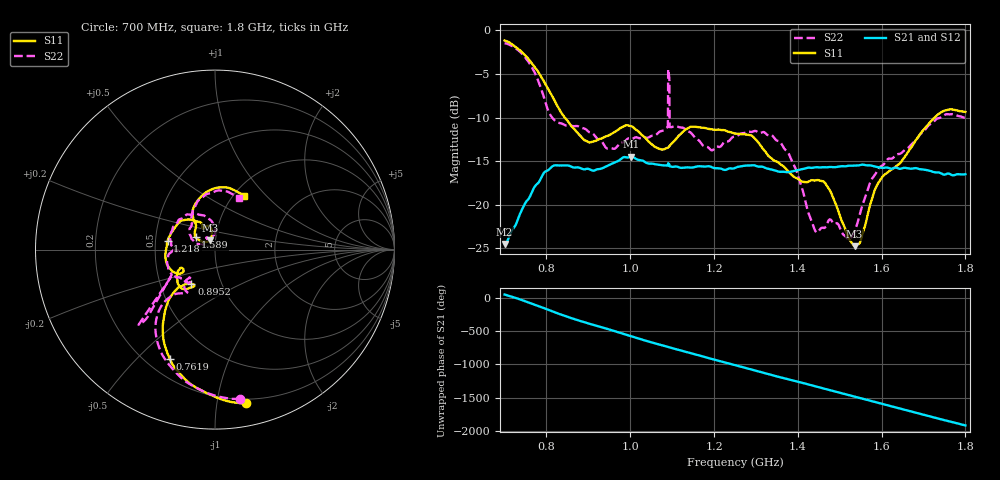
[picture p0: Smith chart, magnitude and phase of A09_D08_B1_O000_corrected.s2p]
! Created with skrf 1.9.0 (http://scikit-rf.org).
# Hz S RI R 50.0
!freq ReS11 ImS11 ReS21 ImS21 ReS12 ImS12 ReS22 ImS22
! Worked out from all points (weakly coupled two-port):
!   1601 points, 700 MHz to 1.8 GHz, reference 50 ohm
!   highest |S21| = -14.49 dB at 1.002 GHz (marker M1); lowest = -24.5 dB at 700 MHz (marker M2)
!   lowest |S11| = -24.7 dB at 1.535 GHz (marker M3), VSWR 1.12, Z = 47.1 + j4.84 ohm
!   |S11| at or under -10 dB: 843.8 MHz to 1.727 GHz (882.7 MHz wide, 68.7 % of centre)
!   |S22| runs from -24.0 to -1.5 dB; largest |S21 - S12| = 0.0037
!   S11 on the Smith chart (normalised r, x): 700 MHz: 0.17, -1.21; 761.9 MHz: 0.29, -0.63; 895.2 MHz: 0.72, -0.29; 1.218 GHz: 0.58, +0.06; 1.589 GHz: 0.80, +0.11; 1.8 GHz: 1.11, +0.76
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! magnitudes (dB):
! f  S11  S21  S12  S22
! 700 MHz  -1.2  -24.5  -24.2  -1.5
! 761.9 MHz  -3.6  -18.9  -18.8  -4.0
! 814.8 MHz  -7.7  -15.6  -15.6  -10.1
! 883.6 MHz  -12.2  -15.9  -15.8  -11.2
! 895.2 MHz  -12.7  -15.9  -16.0  -11.4
! 946.8 MHz  -12.1  -15.5  -15.5  -13.6
! 1.002 GHz  -11.0  -14.5  -14.6  -12.5
! 1.067 GHz  -13.5  -15.4  -15.4  -11.7
! 1.096 GHz  -13.1  -15.6  -15.6  -11.1
! 1.099 GHz  -12.9  -15.6  -15.6  -11.1
! 1.144 GHz  -11.1  -15.7  -15.7  -11.7
! 1.218 GHz  -11.4  -15.9  -15.9  -13.2
! 1.25 GHz  -11.8  -15.8  -15.7  -12.2
! 1.359 GHz  -15.4  -16.2  -16.2  -12.8
! 1.395 GHz  -16.9  -16.1  -16.1  -15.9
! 1.434 GHz  -17.2  -15.8  -15.7  -22.0
! 1.471 GHz  -17.9  -15.7  -15.7  -22.1
! 1.535 GHz  -24.7  -15.5  -15.5  -23.0
! 1.589 GHz  -17.8  -15.7  -15.7  -16.2
! 1.617 GHz  -16.2  -15.8  -15.8  -14.7
! 1.735 GHz  -9.6  -16.3  -16.3  -10.1
! 1.8 GHz  -9.4  -16.5  -16.5  -10.1
